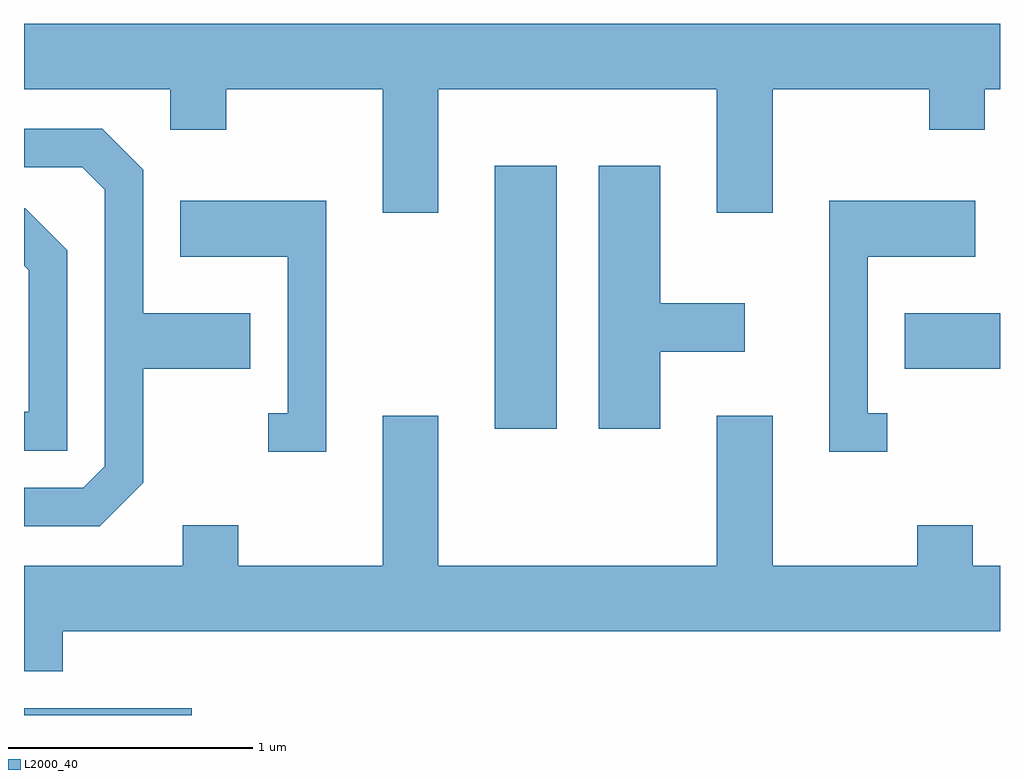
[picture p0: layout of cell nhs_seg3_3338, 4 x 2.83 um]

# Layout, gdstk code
import gdstk
lib = gdstk.Library(unit=1e-6, precision=1e-09)
def R(c, l, rs):  # rectangles x0, y0, x1, y1
    for r in rs: c.add(gdstk.rectangle(r[:2], r[2:], *l))
def P(c, l, *ps):  # polygons
    for p in ps: c.add(gdstk.Polygon(p, *l))
L2000_40 = (2000, 40)

nhs_seg3_3338 = lib.new_cell('nhs_seg3_3338')
R(nhs_seg3_3338, L2000_40, [(283.611,1127.892,284.298,1127.919), (285.541,1129.066,285.794,1130.144), (287.221,1129.311,287.611,1129.539)])
P(nhs_seg3_3338, L2000_40, [(283.611,1130.456),(284.211,1130.456),(284.211,1130.291),(284.439,1130.291),(284.439,1130.456),(285.081,1130.456),(285.081,1129.951),(285.309,1129.951),(285.309,1130.456),(286.451,1130.456),(286.451,1129.951),(286.679,1129.951),(286.679,1130.456),(287.321,1130.456),(287.321,1130.291),(287.549,1130.291),(287.549,1130.456),(287.611,1130.456),(287.611,1130.724),(283.611,1130.724)],
  [(284.013,1128.757),(284.099,1128.844),(284.099,1129.311),(284.539,1129.311),(284.539,1129.539),(284.099,1129.539),(284.099,1130.127),(283.932,1130.294),(283.611,1130.294),(283.611,1130.136),(283.849,1130.136),(283.941,1130.044),(283.941,1128.912),(283.854,1128.824),(283.611,1128.824),(283.611,1128.666),(283.922,1128.666)],
  [(286.219,1129.381),(286.564,1129.381),(286.564,1129.579),(286.219,1129.579),(286.219,1130.144),(285.966,1130.144),(285.966,1129.066),(286.219,1129.066)],
  [(284.849,1129.999),(284.251,1129.999),(284.251,1129.771),(284.691,1129.771),(284.691,1129.129),(284.613,1129.129),(284.613,1128.971),(284.849,1128.971)],
  [(287.148,1129.129),(287.069,1129.129),(287.069,1129.771),(287.509,1129.771),(287.509,1129.999),(286.911,1129.999),(286.911,1128.971),(287.148,1128.971)],
  [(283.789,1129.797),(283.617,1129.969),(283.611,1129.969),(283.611,1129.734),(283.631,1129.714),(283.631,1129.134),(283.611,1129.134),(283.611,1128.976),(283.789,1128.976)],
  [(287.611,1128.504),(287.499,1128.504),(287.499,1128.669),(287.271,1128.669),(287.271,1128.504),(286.679,1128.504),(286.679,1129.119),(286.451,1129.119),(286.451,1128.504),(285.309,1128.504),(285.309,1129.119),(285.081,1129.119),(285.081,1128.504),(284.489,1128.504),(284.489,1128.669),(284.261,1128.669),(284.261,1128.504),(283.611,1128.504),(283.611,1128.071),(283.769,1128.071),(283.769,1128.236),(287.611,1128.236)])

lib.write_gds('nhs_seg3_3338.gds')
